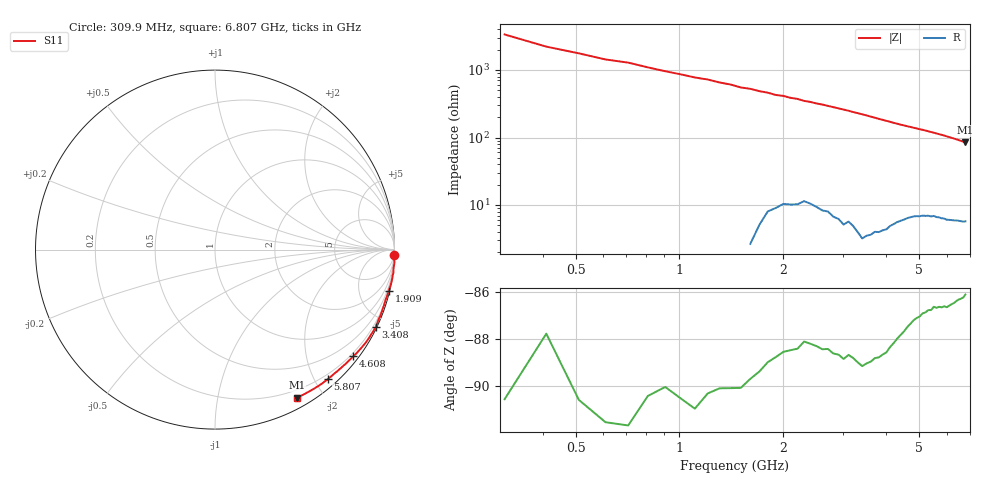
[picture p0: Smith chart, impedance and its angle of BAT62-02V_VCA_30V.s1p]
! Infineon Technologies  Discrete & RF Semiconductors
! BAT62-02V
! VCA = 30 V
! One-Port S-Parameters
# Hz  S  MA  R  50
!f  S11
!Hz  Mag  Ang
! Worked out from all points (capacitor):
!   66 points, 309.9 MHz to 6.807 GHz, reference 50 ohm
!   read as one part to ground: C = 175 fF near 309.9 MHz
!   lowest |Z| = 84.7 ohm at 6.807 GHz (marker M1)
!   S11 on the Smith chart (normalised r, x): 309.9 MHz: -1, -67; 1.909 GHz: 0.18, -8.53; 3.408 GHz: 0.06, -4.41; 4.608 GHz: 0.13, -2.93; 5.807 GHz: 0.13, -2.18; 6.807 GHz: 0.11, -1.69
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3.0985e8  1 -1.7
4.098e8  0.9983 -2.6
6.097e8  1.002 -4.0
7.0965e8  1.002 -4.5
1.10945e9  1.002 -7.4
1.2094e9  1.001 -7.9
1.4093e9  1 -9.4
1.50925e9  1 -10.4
1.6092e9  0.999 -10.9
1.8091e9  0.9963 -12.4
1.90905e9  0.9951 -13.4
2.009e9  0.994 -13.8
2.10895e9  0.9933 -14.7
2.2089e9  0.9928 -15.3
2.30885e9  0.9908 -16.3
2.4088e9  0.991 -16.9
2.8086e9  0.9918 -20.1
3.10845e9  0.9912 -22.7
3.4083e9  0.9938 -25.5
3.6082e9  0.9918 -27.5
4.008e9  0.9871 -31.6
4.4078e9  0.9782 -35.7
4.6077e9  0.9738 -37.6
5.2074e9  0.9635 -43.0
5.8071e9  0.9569 -49.1
6.007e9  0.9555 -51.3
6.4068e9  0.9492 -55.9
6.8066e9  0.9424 -61.1
